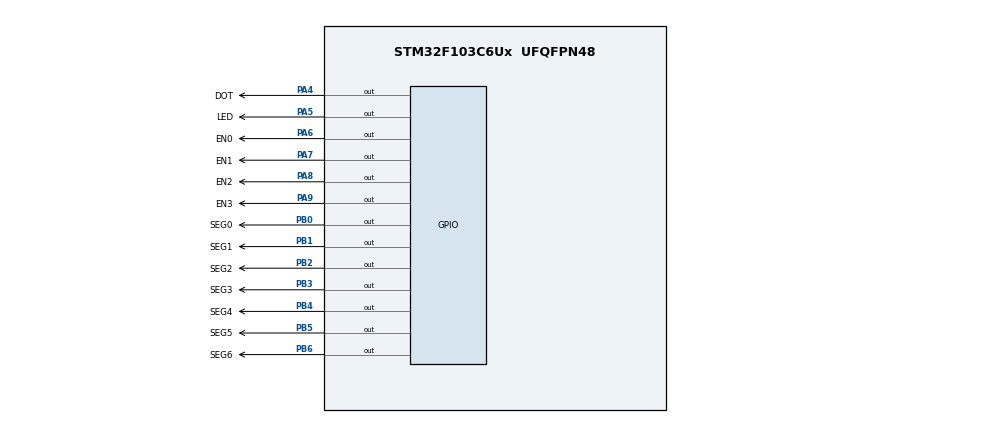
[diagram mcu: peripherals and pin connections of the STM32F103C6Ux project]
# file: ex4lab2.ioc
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Mcu.Family=STM32F1
Mcu.Name=STM32F103C6Ux
Mcu.Package=UFQFPN48
NVIC.PriorityGroup=NVIC_PRIORITYGROUP_4
NVIC.TIM2_IRQn=true\:0\:0\:false\:false\:true\:true\:true
PA4.GPIO_Label=DOT
PA4.Signal=GPIO_Output
PA5.GPIO_Label=LED
PA5.Signal=GPIO_Output
PA6.GPIO_Label=EN0
PA6.Signal=GPIO_Output
PA7.GPIO_Label=EN1
PA7.Signal=GPIO_Output
PA8.GPIO_Label=EN2
PA8.Signal=GPIO_Output
PA9.GPIO_Label=EN3
PA9.Signal=GPIO_Output
PB0.GPIO_Label=SEG0
PB0.Signal=GPIO_Output
PB1.GPIO_Label=SEG1
PB1.Signal=GPIO_Output
PB2.GPIO_Label=SEG2
PB2.Signal=GPIO_Output
PB3.GPIO_Label=SEG3
PB3.Signal=GPIO_Output
PB4.GPIO_Label=SEG4
PB4.Signal=GPIO_Output
PB5.GPIO_Label=SEG5
PB5.Signal=GPIO_Output
PB6.GPIO_Label=SEG6
PB6.Signal=GPIO_Output
ProjectManager.HeapSize=0x200
ProjectManager.StackSize=0x400
ProjectManager.TargetToolchain=STM32CubeIDE
RCC.APB1Freq_Value=8000000
RCC.APB2Freq_Value=8000000
TIM2.Period=9
TIM2.Prescaler=7999
VP_SYS_VS_ND.Mode=No_Debug
VP_TIM2_VS_ClockSourceINT.Mode=Internal
board=custom

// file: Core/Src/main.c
/* USER CODE BEGIN Header */
/**
  ******************************************************************************
  * @file           : main.c
  * @brief          : Lab 2 - Exercise 4: Software Timers Implementation
  ******************************************************************************
  */
/* USER CODE END Header */

#include "main.h"

TIM_HandleTypeDef htim2;

/* USER CODE BEGIN PV */
// --- Khai báo Software Timer ---
int timer1_counter = 0;
int timer1_flag = 0;

int timer2_counter = 0;
int timer2_flag = 0;

// --- Khai báo biến quét LED ---
int index_led = 0;
int led_buffer[4] = {1, 2, 3, 0}; // Mảng dữ liệu hiển thị cho 4 LED (12:30)
/* USER CODE END PV */

void SystemClock_Config(void);
static void MX_GPIO_Init(void);
static void MX_TIM2_Init(void);

void setTimer1(int duration);
void setTimer2(int duration);
void timerRun(void);

void display7SEG(int num);
void update7SEG(int index);

/* USER CODE BEGIN 0 */
// --- HÀM KHỞI TẠO SOFTWARE TIMERS ---
void setTimer1(int duration) {
    timer1_counter = duration; // duration x 10ms
    timer1_flag = 0;
}

void setTimer2(int duration) {
    timer2_counter = duration; // duration x 10ms
    timer2_flag = 0;
}

// --- HÀM CHẠY TIMER (Gọi trong Ngắt Hardware TIM2) ---
void timerRun(void) {
    if (timer1_counter > 0) {
        timer1_counter--;
        if (timer1_counter <= 0) {
            timer1_flag = 1; // Bật cờ báo hết giờ cho Timer 1
        }
    }

    if (timer2_counter > 0) {
        timer2_counter--;
        if (timer2_counter <= 0) {
            timer2_flag = 1; // Bật cờ báo hết giờ cho Timer 2
        }
    }
}

// --- HÀM HIỂN THỊ MÃ 7 ĐOẠN ---
void display7SEG(int num) {
    uint8_t segmentNumber[10] = {
        0b00111111, // 0
        0b00000110, // 1
        0b01011011, // 2
        0b01001111, // 3
        0b01100110, // 4
        0b01101101, // 5
        0b01111101, // 6
        0b00000111, // 7
        0b01111111, // 8
        0b01101111  // 9
    };

    if (num >= 0 && num <= 9) {
        uint8_t data = ~segmentNumber[num]; // Đảo bit cho Anode chung (LOW là SÁNG)
        for (int i = 0; i < 7; i++) {
            HAL_GPIO_WritePin(GPIOB, GPIO_PIN_0 << i, (data >> i) & 0x01);
        }
    }
}

// --- HÀM CẬP NHẬT LED THEO INDEX ---
void update7SEG(int index) {
    // Tắt tất cả 4 Transistor PNP trước (Khóa mức HIGH) để chống lem nét
    HAL_GPIO_WritePin(GPIOA, GPIO_PIN_6 | GPIO_PIN_7 | GPIO_PIN_8 | GPIO_PIN_9, GPIO_PIN_SET);

    // Kích mở LED tương ứng (Mức LOW) và xuất dữ liệu từ led_buffer
    switch (index) {
        case 0:
            display7SEG(led_buffer[0]);
            HAL_GPIO_WritePin(GPIOA, GPIO_PIN_6, GPIO_PIN_RESET); // PA6 - EN0
            break;
        case 1:
            display7SEG(led_buffer[1]);
            HAL_GPIO_WritePin(GPIOA, GPIO_PIN_7, GPIO_PIN_RESET); // PA7 - EN1
            break;
        case 2:
            display7SEG(led_buffer[2]);
            HAL_GPIO_WritePin(GPIOA, GPIO_PIN_8, GPIO_PIN_RESET); // PA8 - EN2
            break;
        case 3:
            display7SEG(led_buffer[3]);
            HAL_GPIO_WritePin(GPIOA, GPIO_PIN_9, GPIO_PIN_RESET); // PA9 - EN3
            break;
        default:
            break;
    }
}
/* USER CODE END 0 */

int main(void)
{
  HAL_Init();
  SystemClock_Config();

  MX_GPIO_Init();
  MX_TIM2_Init();

  /* Kích hoạt Ngắt Timer 2 */
  HAL_TIM_Base_Start_IT(&htim2);

  /* Cấu hình thời gian ban đầu cho 2 Software Timer */
  setTimer1(50); // 50 x 10ms = 500ms chuyển mỗi LED 7-đoạn
  setTimer2(50); // 50 x 10ms = 500ms đảo trạng thái LED DOT (Chu kỳ chớp tắt = 1s)

  while (1)
  {
    /* 1. Xử lý Quét LED 7-đoạn khi Software Timer 1 hết giờ */
    if (timer1_flag == 1) {
        setTimer1(50); // Đặt lại timer 500ms cho lần quét tiếp theo

        update7SEG(index_led);
        index_led++;
        if (index_led >= 4) {
            index_led = 0;
        }
    }

    /* 2. Xử lý Chớp tắt LED DOT khi Software Timer 2 hết giờ */
    if (timer2_flag == 1) {
        setTimer2(50); // Đặt lại timer 500ms cho lần tiếp theo

        HAL_GPIO_TogglePin(GPIOA, GPIO_PIN_4); // Đảo trạng thái chân PA4 (DOT)
    }
  }
}

void SystemClock_Config(void)
{
  RCC_OscInitTypeDef RCC_OscInitStruct = {0};
  RCC_ClkInitTypeDef RCC_ClkInitStruct = {0};

  RCC_OscInitStruct.OscillatorType = RCC_OSCILLATORTYPE_HSI;
  RCC_OscInitStruct.HSIState = RCC_HSI_ON;
  RCC_OscInitStruct.HSICalibrationValue = RCC_HSICALIBRATION_DEFAULT;
  RCC_OscInitStruct.PLL.PLLState = RCC_PLL_NONE;
  if (HAL_RCC_OscConfig(&RCC_OscInitStruct) != HAL_OK)
  {
    Error_Handler();
  }

  RCC_ClkInitStruct.ClockType = RCC_CLOCKTYPE_HCLK|RCC_CLOCKTYPE_SYSCLK
                              |RCC_CLOCKTYPE_PCLK1|RCC_CLOCKTYPE_PCLK2;
  RCC_ClkInitStruct.SYSCLKSource = RCC_SYSCLKSOURCE_HSI;
  RCC_ClkInitStruct.AHBCLKDivider = RCC_SYSCLK_DIV1;
  RCC_ClkInitStruct.APB1CLKDivider = RCC_HCLK_DIV1;
  RCC_ClkInitStruct.APB2CLKDivider = RCC_HCLK_DIV1;

  if (HAL_RCC_ClockConfig(&RCC_ClkInitStruct, FLASH_LATENCY_0) != HAL_OK)
  {
    Error_Handler();
  }
}

static void MX_TIM2_Init(void)
{
  TIM_ClockConfigTypeDef sClockSourceConfig = {0};
  TIM_MasterConfigTypeDef sMasterConfig = {0};

  htim2.Instance = TIM2;
  htim2.Init.Prescaler = 7999; // 8MHz / 8000 = 1000Hz (1ms)
  htim2.Init.CounterMode = TIM_COUNTERMODE_UP;
  htim2.Init.Period = 9;       // Tần số ngắt 10ms/lần
  htim2.Init.ClockDivision = TIM_CLOCKDIVISION_DIV1;
  htim2.Init.AutoReloadPreload = TIM_AUTORELOAD_PRELOAD_DISABLE;
  if (HAL_TIM_Base_Init(&htim2) != HAL_OK)
  {
    Error_Handler();
  }
  sClockSourceConfig.ClockSource = TIM_CLOCKSOURCE_INTERNAL;
  if (HAL_TIM_ConfigClockSource(&htim2, &sClockSourceConfig) != HAL_OK)
  {
    Error_Handler();
  }
  sMasterConfig.MasterOutputTrigger = TIM_TRGO_RESET;
  sMasterConfig.MasterSlaveMode = TIM_MASTERSLAVEMODE_DISABLE;
  if (HAL_TIMEx_MasterConfigSynchronization(&htim2, &sMasterConfig) != HAL_OK)
  {
    Error_Handler();
  }
}

static void MX_GPIO_Init(void)
{
  GPIO_InitTypeDef GPIO_InitStruct = {0};

  /* Enable Clocks */
  __HAL_RCC_GPIOA_CLK_ENABLE();
  __HAL_RCC_GPIOB_CLK_ENABLE();
  __HAL_RCC_AFIO_CLK_ENABLE();

  /* Tắt JTAG để sử dụng PB3, PB4 làm GPIO */
  __HAL_AFIO_REMAP_SWJ_NOJTAG();

  /* Trạng thái ban đầu: Tắt 4 PNP (HIGH) và Tắt LED DOT (LOW) */
  HAL_GPIO_WritePin(GPIOA, GPIO_PIN_4 | GPIO_PIN_5, GPIO_PIN_RESET);
  HAL_GPIO_WritePin(GPIOA, GPIO_PIN_6 | GPIO_PIN_7 | GPIO_PIN_8 | GPIO_PIN_9, GPIO_PIN_SET);

  /* Trạng thái ban đầu bus 7 đoạn */
  HAL_GPIO_WritePin(GPIOB, GPIO_PIN_0 | GPIO_PIN_1 | GPIO_PIN_2 | GPIO_PIN_3
                          | GPIO_PIN_4 | GPIO_PIN_5 | GPIO_PIN_6, GPIO_PIN_RESET);

  /* Configure GPIO pins : PA4 (DOT), PA5 (LED), PA6 (EN0), PA7 (EN1), PA8 (EN2), PA9 (EN3) */
  GPIO_InitStruct.Pin = GPIO_PIN_4 | GPIO_PIN_5 | GPIO_PIN_6 | GPIO_PIN_7 | GPIO_PIN_8 | GPIO_PIN_9;
  GPIO_InitStruct.Mode = GPIO_MODE_OUTPUT_PP;
  GPIO_InitStruct.Pull = GPIO_NOPULL;
  GPIO_InitStruct.Speed = GPIO_SPEED_FREQ_LOW;
  HAL_GPIO_Init(GPIOA, &GPIO_InitStruct);

  /* Configure GPIO pins : PB0 -> PB6 (SEG0 -> SEG6) */
  GPIO_InitStruct.Pin = GPIO_PIN_0 | GPIO_PIN_1 | GPIO_PIN_2 | GPIO_PIN_3
                          | GPIO_PIN_4 | GPIO_PIN_5 | GPIO_PIN_6;
  GPIO_InitStruct.Mode = GPIO_MODE_OUTPUT_PP;
  GPIO_InitStruct.Pull = GPIO_NOPULL;
  GPIO_InitStruct.Speed = GPIO_SPEED_FREQ_LOW;
  HAL_GPIO_Init(GPIOB, &GPIO_InitStruct);
}

/* USER CODE BEGIN 4 */
// Callback Ngắt Timer 2 (Xảy ra đúng 10ms/lần)
void HAL_TIM_PeriodElapsedCallback(TIM_HandleTypeDef *htim) {
    if (htim->Instance == TIM2) {
        // Chỉ cập nhật đếm cho các Software Timer
        timerRun();
    }
}
/* USER CODE END 4 */

void Error_Handler(void)
{
  __disable_irq();
  while (1)
  {
  }
}
